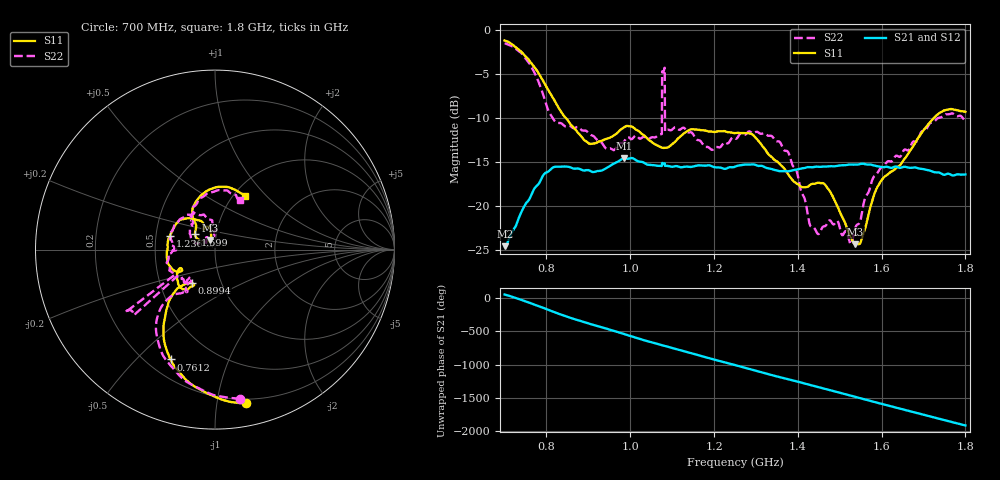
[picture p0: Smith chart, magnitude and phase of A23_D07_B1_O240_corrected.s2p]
! Created with skrf 1.9.0 (http://scikit-rf.org).
# Hz S RI R 50.0
!freq ReS11 ImS11 ReS21 ImS21 ReS12 ImS12 ReS22 ImS22
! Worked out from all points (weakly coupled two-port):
!   1601 points, 700 MHz to 1.8 GHz, reference 50 ohm
!   highest |S21| = -14.55 dB at 985.3 MHz (marker M1); lowest = -24.6 dB at 700.7 MHz (marker M2)
!   lowest |S11| = -24.4 dB at 1.537 GHz (marker M3), VSWR 1.13, Z = 47.1 + j5.14 ohm
!   |S11| at or under -10 dB: 846.2 MHz to 1.725 GHz (878.3 MHz wide, 68.3 % of centre)
!   |S22| runs from -24.4 to -1.5 dB; largest |S21 - S12| = 0.0035
!   S11 on the Smith chart (normalised r, x): 700 MHz: 0.17, -1.21; 761.2 MHz: 0.29, -0.63; 899.4 MHz: 0.72, -0.29; 1.236 GHz: 0.59, +0.10; 1.599 GHz: 0.79, +0.14; 1.8 GHz: 1.12, +0.76
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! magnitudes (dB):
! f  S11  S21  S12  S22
! 700 MHz  -1.2  -24.6  -24.4  -1.5
! 700.7 MHz  -1.2  -24.6  -24.3  -1.5
! 761.2 MHz  -3.6  -19.0  -18.9  -3.9
! 818.2 MHz  -7.9  -15.6  -15.7  -10.2
! 883.6 MHz  -12.1  -15.9  -15.8  -11.4
! 899.4 MHz  -12.8  -15.9  -16.0  -11.7
! 985.3 MHz  -11.1  -14.5  -14.6  -12.7
! 1.067 GHz  -13.2  -15.4  -15.4  -11.9
! 1.082 GHz  -13.4  -15.2  -15.2  -4.4
! 1.088 GHz  -13.4  -15.4  -15.4  -11.3
! 1.236 GHz  -11.6  -15.6  -15.7  -12.8
! 1.25 GHz  -11.7  -15.5  -15.5  -12.3
! 1.357 GHz  -15.3  -16.0  -16.0  -12.7
! 1.396 GHz  -17.4  -15.9  -15.9  -15.9
! 1.434 GHz  -17.5  -15.6  -15.6  -22.4
! 1.471 GHz  -18.0  -15.5  -15.5  -21.9
! 1.526 GHz  -23.5  -15.3  -15.3  -24.3
! 1.537 GHz  -24.4  -15.3  -15.3  -22.5
! 1.599 GHz  -17.1  -15.6  -15.5  -15.6
! 1.617 GHz  -16.3  -15.6  -15.6  -14.9
! 1.734 GHz  -9.6  -16.2  -16.2  -10.0
! 1.8 GHz  -9.3  -16.4  -16.4  -10.2
